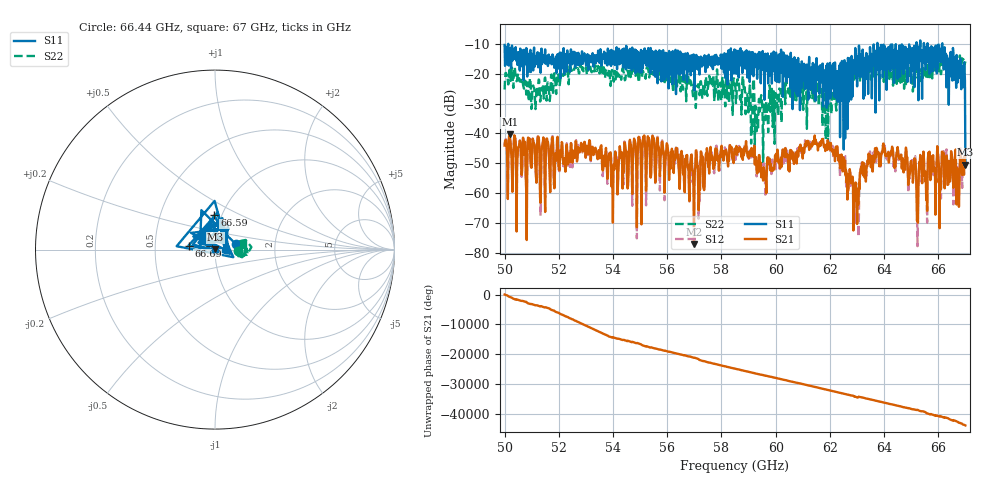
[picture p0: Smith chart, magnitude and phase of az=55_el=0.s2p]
!Created with skrf (http://scikit-rf.org).
# GHz S RI R 50.0
!freq ReS11 ImS11 ReS21 ImS21 ReS12 ImS12 ReS22 ImS22
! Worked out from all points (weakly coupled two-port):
!   1001 points, 50 GHz to 67 GHz, reference 50 ohm
!   highest |S21| = -40.32 dB at 50.19 GHz (marker M1); lowest = -77.2 dB at 56.99 GHz (marker M2)
!   lowest |S11| = -50.5 dB at 67 GHz (marker M3), VSWR 1.01, Z = 50.3 + j0.149 ohm
!   |S11| at or under -10 dB: 50.14 GHz to 63.75 GHz (13.62 GHz wide, 23.9 % of centre); 63.75 GHz to 65.2 GHz (1.441 GHz wide, 2.23 % of centre); 66.15 GHz to end of sweep (the widest 3 of 8)
!   |S22| runs from -49.7 to -13.8 dB; largest |S21 - S12| = 0.0023
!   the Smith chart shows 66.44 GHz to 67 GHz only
!   S11 on the Smith chart (normalised r, x): 66.44 GHz: 1.26, +0.08; 66.59 GHz: 0.92, +0.37; 66.69 GHz: 0.74, +0.03; 67 GHz: 1.01, +0.00
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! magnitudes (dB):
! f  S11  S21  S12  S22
! 50 GHz  -10.3  -44.1  -43.9  -25.3
! 50.19 GHz  -12.2  -40.3  -40.6  -18.6
! 51.07 GHz  -12.7  -43.6  -43.9  -24.6
! 52.84 GHz  -14.4  -44.5  -44.8  -19.2
! 54.03 GHz  -12.4  -50.4  -51.9  -22.6
! 55.68 GHz  -13.7  -44.4  -43.8  -22.1
! 56.99 GHz  -15.0  -77.2  -66.5  -22.1
! 58.5 GHz  -19.8  -45.1  -46.3  -24.1
! 59.32 GHz  -21.7  -53.5  -50.7  -33.9
! 61.34 GHz  -24.2  -44.4  -43.5  -25.8
! 61.88 GHz  -31.4  -43.6  -44.3  -23.2
! 62.48 GHz  -22.9  -52.8  -51.9  -22.1
! 62.99 GHz  -14.5  -58.9  -62.7  -20.5
! 63.17 GHz  -14.8  -53.4  -49.8  -18.4
! 64.18 GHz  -18.4  -49.8  -49.3  -18.3
! 65.23 GHz  -11.8  -66.3  -77.9  -17.6
! 65.39 GHz  -12.1  -51.7  -56.2  -20.0
! 66.44 GHz  -18.4  -56.1  -55.2  -17.9
! 66.59 GHz  -14.4  -53.2  -53.1  -16.0
! 66.69 GHz  -16.5  -51.7  -54.5  -15.7
! 66.9 GHz  -17.3  -51.1  -51.5  -15.1
! 67 GHz  -50.5  -51.2  -51.6  -15.8
